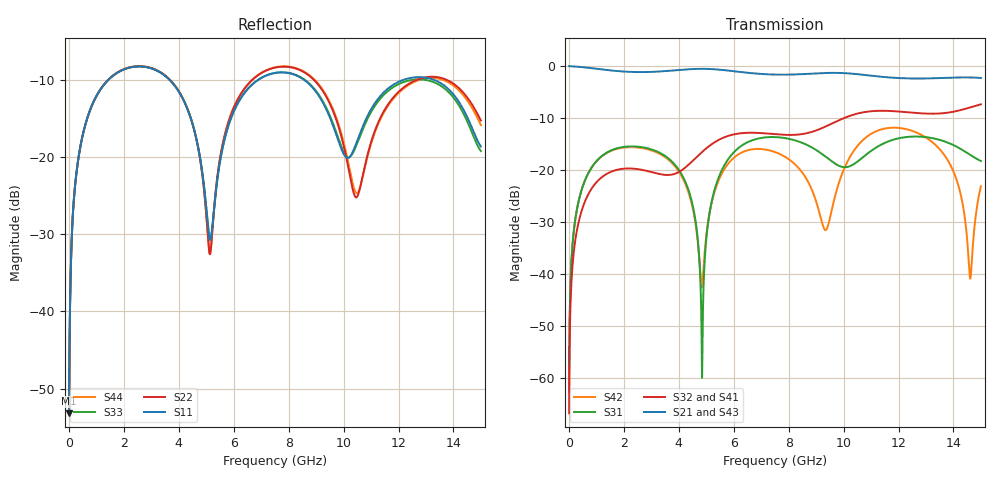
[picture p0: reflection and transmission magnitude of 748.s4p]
! Created with skrf 1.8.0 (http://scikit-rf.org).
# GHz S RI R 50.0
!freq ReS11 ImS11 ReS12 ImS12 ReS13 ImS13
! ReS14 ImS14
! ReS21 ImS21 ReS22 ImS22 ReS23 ImS23
! ReS24 ImS24
! ReS31 ImS31 ReS32 ImS32 ReS33 ImS33
! ReS34 ImS34
! ReS41 ImS41 ReS42 ImS42 ReS43 ImS43
! ReS44 ImS44
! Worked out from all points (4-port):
!   2499 points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, 5 MHz to 15 GHz, reference 50 ohm
!   strongest paths, dB at 5 MHz, 3.476 GHz, 7.19 GHz, 11.1 GHz, 15 GHz:
!     S21: 0.0, -1.0, -1.6, -1.9, -2.3
!     S43: 0.0, -1.0, -1.6, -1.9, -2.3
!     S32: -66.7, -20.9, -12.9, -8.6, -7.3
!     S41: -66.7, -20.9, -13.0, -8.7, -7.3
!     S31: -62.6, -17.2, -13.7, -15.9, -18.2
!     S42: -62.6, -17.4, -16.1, -12.7, -23.1
!   lowest |S11| = -53.2 dB at 5 MHz (marker M1), VSWR 1.00, Z = 50.2 + j0.132 ohm
!   |S11| at or under -10 dB: 3.672 GHz to 6.877 GHz (3.205 GHz wide, 60.8 % of centre); 8.573 GHz to 12.16 GHz (3.583 GHz wide, 34.6 % of centre); 13.31 GHz to end of sweep (the widest 3 of 4)
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0.005  0.00174 0.00132  0.9982 -0.00339  8.94e-05 0.000735  -8.65e-05 -0.000454
       0.9982 -0.00339  0.00174 0.00132  -8.65e-05 -0.000454  8.93e-05 0.000735
       8.94e-05 0.000735  -8.65e-05 -0.000454  0.00174 0.00132  0.9982 -0.00339
       -8.65e-05 -0.000454  8.93e-05 0.000735  0.9982 -0.00339  0.00174 0.00132
0.3126303  0.0266 0.0861  0.9635 -0.2104  0.0132 0.0432  -0.0108 -0.0263
           0.9635 -0.2104  0.0267 0.0861  -0.0108 -0.0263  0.0128 0.0434
           0.0132 0.0432  -0.0108 -0.0263  0.0266 0.0861  0.9635 -0.2104
           -0.0108 -0.0263  0.0128 0.0434  0.9635 -0.2104  0.0267 0.0861
1.569404  0.2893 0.1664  0.5 -0.7553  0.1463 0.0555  -0.0974 0.00273
          0.5 -0.7553  0.291 0.1651  -0.0975 0.00283  0.1417 0.0624
          0.1463 0.0555  -0.0975 0.00283  0.2893 0.1664  0.5 -0.7553
          -0.0974 0.00273  0.1417 0.0624  0.5 -0.7553  0.2911 0.165
4.848636  0.041 -0.0696  -0.9076 -0.2489  0.00102 0.000162  -0.0359 0.1455
          -0.9076 -0.2489  0.0349 -0.0702  -0.0345 0.1459  -0.00773 0.000959
          0.00102 0.000162  -0.0345 0.1459  0.0414 -0.0704  -0.9075 -0.2489
          -0.0359 0.1455  -0.00773 0.000959  -0.9075 -0.2489  0.035 -0.071
6.040017  0.1372 0.1527  -0.7859 0.4187  0.1336 0.0725  0.1326 0.1774
          -0.7859 0.4187  0.1442 0.1625  0.1343 0.1765  0.0889 0.1004
          0.1336 0.0725  0.1343 0.1765  0.1369 0.1522  -0.7857 0.4191
          0.1326 0.1774  0.0889 0.1004  -0.7857 0.4191  0.1444 0.1625
10.36682  0.1053 0.0365  0.8358 0.1112  -0.0673 0.0921  0.0414 -0.3386
          0.8358 0.1112  0.0528 -0.0255  0.0359 -0.34  0.0631 0.1393
          -0.0673 0.0921  0.0359 -0.34  0.1049 0.0287  0.8357 0.1117
          0.0414 -0.3386  0.0631 0.1393  0.8357 0.1117  0.0557 -0.0315
15  0.1146 -0.0243  -0.6451 -0.4195  -0.12 -0.0253  -0.2337 0.3614
    -0.6451 -0.4195  0.1355 -0.1075  -0.2234 0.3666  0.00989 0.0694
    -0.12 -0.0253  -0.2234 0.3666  0.1086 -0.0149  -0.6513 -0.4122
    -0.2337 0.3614  0.00989 0.0694  -0.6513 -0.4122  0.1288 -0.0976
